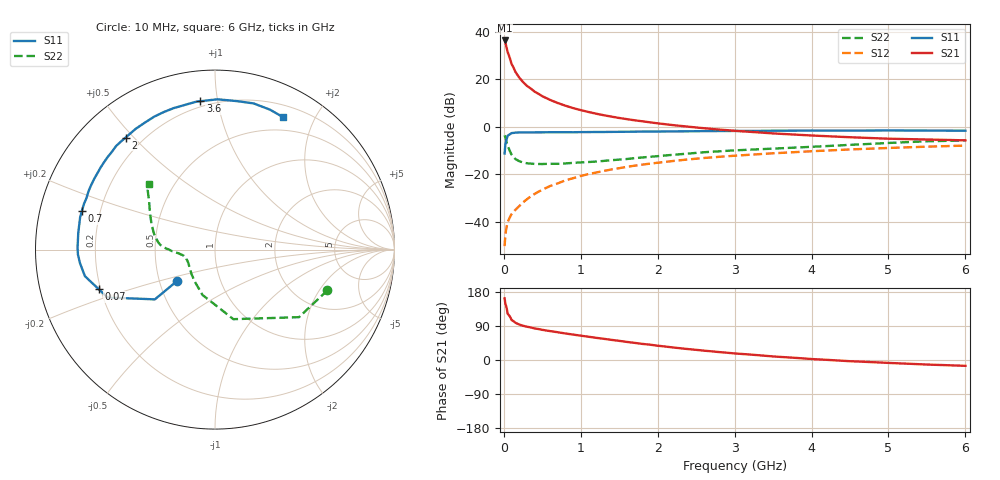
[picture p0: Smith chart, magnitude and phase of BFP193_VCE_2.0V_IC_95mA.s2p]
! Infineon Technologies  Discrete & RF Semiconductors
! BFP193
! VCE =  2.0 V,  IC =  95 mA
! Common Emitter S-Parameters:  Jan 2017
# GHz  S  MA  R  50
!  f  S11  S21  S12  S22
! GHz  MAG  ANG  MAG  ANG  MAG  ANG  MAG  ANG
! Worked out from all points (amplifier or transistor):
!   77 points, 10 MHz to 6 GHz, reference 50 ohm
!   highest |S21| = 36.3 dB at 10 MHz (marker M1)
!   |S21| within 3 dB of that: start of sweep to 35.54 MHz
!   unconditionally stable (mu >= 1): 187.5 MHz to 3.484 GHz; 3.55 GHz to 3.815 GHz; 4.144 GHz to end of sweep (the widest 3 of 4)
!   at 130 MHz: K = 0.88, MSG = 30.1 dB, |S12| = -35.6 dB
!   at 2.2 GHz: K = 1.06, MAG = 6.1 dB, |S12| = -14.4 dB
!   at 6 GHz: K = 1.02, MAG = 0.1 dB, |S12| = -7.9 dB
!   S11 on the Smith chart (normalised r, x): 10 MHz: 0.62, -0.23; 70 MHz: 0.19, -0.16; 700 MHz: 0.13, +0.14; 2 GHz: 0.14, +0.47; 3.6 GHz: 0.17, +0.89; 6 GHz: 0.33, +1.59
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0.01  0.275 -140.4  65.68 162.8  0.0031 74.2  0.6663 -19.9
0.02  0.4351 -140.4  59.05 148.2  0.0055 67.7  0.6007 -38.8
0.05  0.6551 -155.9  37.19 121.8  0.0099 53.3  0.4009 -75.2
0.07  0.6849 -161.3  30.5 117.3  0.0118 56.3  0.3353 -84.2
0.1  0.7399 -168.5  21.08 105.4  0.0146 59.3  0.2621 -105.4
0.15  0.7563 -174.4  14.39 98.3  0.018 62.0  0.2111 -122.1
0.2  0.7643 -178.0  10.9 93.7  0.0216 65.2  0.19 -133.2
0.25  0.7657 179.2  8.75 90.3  0.0258 66.7  0.1782 -140.4
0.3  0.7654 176.9  7.302 87.8  0.0301 68.6  0.1717 -146.3
0.4  0.7674 173.2  5.514 83.3  0.0389 70.5  0.1664 -153.3
0.5  0.7689 169.7  4.417 79.6  0.0477 71.1  0.1656 -158.1
0.7  0.7725 163.9  3.181 73.3  0.0648 70.6  0.1671 -164.5
0.9  0.7715 158.0  2.485 67.1  0.0833 68.9  0.175 -167.4
1.1  0.778 152.5  2.058 61.4  0.1018 67.2  0.1825 -170.1
1.5  0.7869 141.8  1.538 50.5  0.1353 62.1  0.2049 -174.4
2  0.7984 128.6  1.187 37.7  0.1761 55.1  0.2424 -178.2
2.1  0.8008 126.0  1.137 35.5  0.1838 53.7  0.2506 -179.3
3.1  0.8214 104.5  0.807 15.9  0.2533 39.9  0.3262 170.9
3.6  0.8308 95.6  0.714 8.1  0.2838 33.7  0.3551 164.3
4.1  0.8361 87.6  0.648 1.5  0.3127 27.4  0.388 156.4
5.1  0.8406 73.9  0.56 -8.5  0.3647 15.3  0.4665 142.3
6  0.8298 62.8  0.521 -15.4  0.4047 4.9  0.5184 134.9
